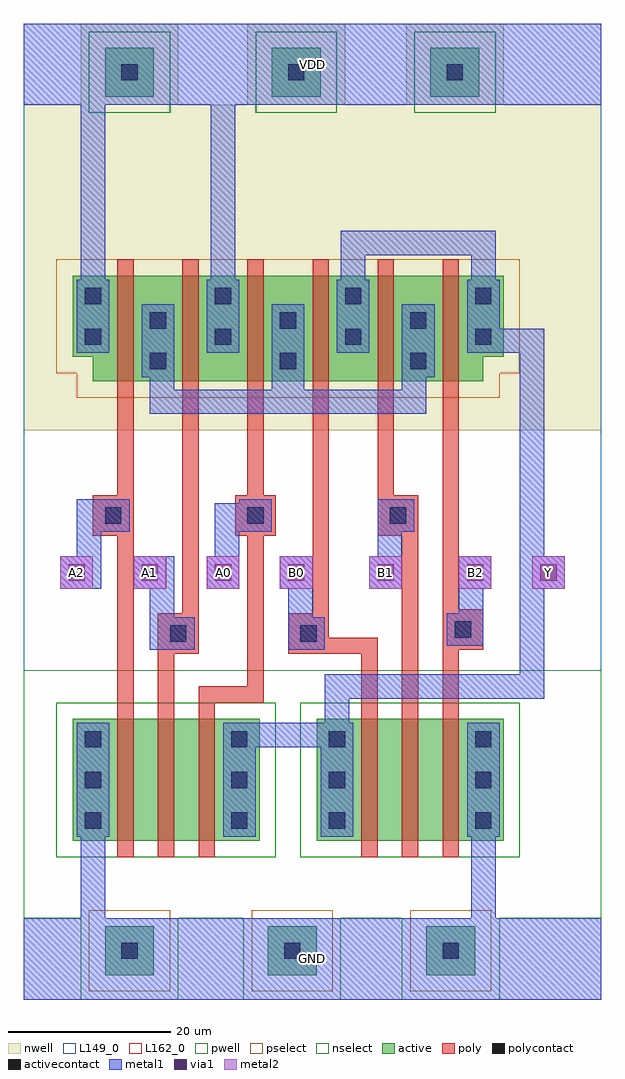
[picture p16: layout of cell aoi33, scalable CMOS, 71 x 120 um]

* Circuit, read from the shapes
.subckt aoi33 A0 A1 A2 B0 B1 B2 GND VDD Y
M1 n1 A2 GND GND nfet w=15u l=2u
M2 n2 A1 n1 GND nfet w=15u l=2u
M3 Y A0 n2 GND nfet w=15u l=2u
M4 n3 B0 Y GND nfet w=15u l=2u
M5 n4 B1 n3 GND nfet w=15u l=2u
M6 GND B2 n4 GND nfet w=15u l=2u
M7 n5 A2 VDD VDD pfet w=13u l=2u
M8 VDD A1 n5 VDD pfet w=13u l=2u
M9 n5 A0 VDD VDD pfet w=13u l=2u
M10 Y B0 n5 VDD pfet w=13u l=2u
M11 n5 B1 Y VDD pfet w=13u l=2u
M12 Y B2 n5 VDD pfet w=13u l=2u
.ends

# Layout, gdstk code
import gdstk
lib = gdstk.Library(unit=1e-6, precision=1e-09)
def R(c, l, rs):  # rectangles x0, y0, x1, y1
    for r in rs: c.add(gdstk.rectangle(r[:2], r[2:], *l))
def A(c, l, x, y, w, h, nx, ny, dx, dy):  # array of equal rectangles
    R(c, l, [(x+i*dx, y+j*dy, x+i*dx+w, y+j*dy+h) for i in range(nx) for j in range(ny)])
def P(c, l, *ps):  # polygons
    for p in ps: c.add(gdstk.Polygon(p, *l))
pwell = (41, 0)
nwell = (42, 0)
active = (43, 0)
pselect = (44, 0)
nselect = (45, 0)
poly = (46, 0)
polycontact = (47, 0)
activecontact = (48, 0)
metal1 = (49, 0)
via1 = (50, 0)
metal2 = (51, 0)
L149_0 = (149, 0)
L162_0 = (162, 0)

pwell_contact = lib.new_cell('pwell_contact')
R(pwell_contact, pwell, [(-6,-6,6,5)])
R(pwell_contact, active, [(-3,-3,3,3)])
R(pwell_contact, pselect, [(-5,-5,5,5)])
R(pwell_contact, activecontact, [(-1,-1,1,1)])

nwell_contact = lib.new_cell('nwell_contact')
R(nwell_contact, nwell, [(-6,-5,6,6)])
R(nwell_contact, active, [(-3,-3,3,3)])
R(nwell_contact, nselect, [(-5,-5,5,5)])
R(nwell_contact, activecontact, [(-1,-1,1,1)])

via = lib.new_cell('via')
R(via, metal1, [(-2,-2,2,2)])
R(via, via1, [(-1,-1,1,1)])
R(via, metal2, [(-2,-2,2,2)])

aoi33 = lib.new_cell('aoi33')
R(aoi33, pwell, [(0,10,71,20), (0,10,71,40.5), (0,13.5,35,40.5), (30,13.5,65,40.5)])
R(aoi33, nwell, [(0,70,71,110), (0,95,71,110)])
P(aoi33, nwell, [(2.5,70),(2.5,73),(0,73),(0,95),(65,95),(65,73),(62.5,73),(62.5,70)])
R(aoi33, active, [(6,19.5,29,34.5), (36,19.5,59,34.5)])
P(aoi33, active, [(8.5,76),(8.5,79),(6,79),(6,89),(59,89),(59,79),(56.5,79),(56.5,76)])
P(aoi33, pselect, [(6.5,74),(6.5,77),(4,77),(4,91),(61,91),(61,77),(58.5,77),(58.5,74)])
R(aoi33, nselect, [(4,17.5,31,36.5), (34,17.5,61,36.5)])
A(aoi33, poly, 11.5, 17.5, 2, 2, 3, 2, 5, 17)
A(aoi33, poly, 41.5, 17.5, 2, 2, 3, 2, 5, 17)
A(aoi33, poly, 11.5, 19.5, 2, 15, 3, 1, 5, 0)
A(aoi33, poly, 41.5, 19.5, 2, 15, 3, 1, 5, 0)
A(aoi33, poly, 8.5, 57, 5, 5, 3, 1, 17.5, 0)
A(aoi33, poly, 11.5, 74, 2, 2, 6, 2, 8, 15)
A(aoi33, poly, 11.5, 76, 2, 13, 6, 1, 8, 0)
R(aoi33, poly, [(16.5,42.5,21.5,47.5), (32.5,42.5,37.5,47.5), (51.5,43,56.5,48)])
A(aoi33, polycontact, 10, 58.5, 2, 2, 3, 1, 17.5, 0)
R(aoi33, polycontact, [(18,44,20,46), (34,44,36,46), (53,44.5,55,46.5)])
A(aoi33, activecontact, 7.5, 21, 2, 2, 1, 3, 0, 5)
A(aoi33, activecontact, 25.5, 21, 2, 2, 1, 3, 0, 5)
A(aoi33, activecontact, 37.5, 21, 2, 2, 1, 3, 0, 5)
A(aoi33, activecontact, 55.5, 21, 2, 2, 1, 3, 0, 5)
A(aoi33, activecontact, 15.5, 77.5, 2, 2, 3, 2, 16, 5)
A(aoi33, activecontact, 7.5, 80.5, 2, 2, 4, 2, 16, 5)
A(aoi33, metal1, 9, 57.5, 4, 4, 3, 1, 17.5, 0)
A(aoi33, metal1, 14.5, 76.5, 4, 9, 3, 1, 16, 0)
A(aoi33, metal1, 6.5, 79.5, 4, 9, 4, 1, 16, 0)
R(aoi33, metal1, [(0,0,71,10), (0,0,71,10), (6.5,20,10.5,34), (24.5,20,28.5,34), (36.5,20,40.5,34), (54.5,20,58.5,34), (17,43,21,47), (33,43,37,47), (52,43.5,56,47.5), (0,110,71,120), (0,110,71,120)])
A(aoi33, metal2, 4.5, 50.5, 4, 4, 4, 1, 9, 0)
R(aoi33, metal2, [(42.5,50.5,46.5,54.5), (53.5,50.5,57.5,54.5), (62.5,50.5,66.5,54.5)])
A(aoi33, L149_0, 9, 57.5, 4, 4, 3, 1, 17.5, 0)
R(aoi33, L149_0, [(0,0,71,10), (0,0,71,10), (0,0,71,120), (17,43,21,47), (33,43,37,47), (52,43.5,56,47.5), (0,110,71,120), (0,110,71,120)])
A(aoi33, L162_0, 4.5, 50.5, 4, 4, 4, 1, 9, 0)
R(aoi33, L162_0, [(42.5,50.5,46.5,54.5), (53.5,50.5,57.5,54.5), (62.5,50.5,66.5,54.5)])
aoi33.add(gdstk.FlexPath([(55,43.5),(55,54.5)], 3, ends="flush", simple_path=True, layer=149, datatype=0))  # L149_0
aoi33.add(gdstk.FlexPath([(56.5,20),(56.5,10)], 3, ends="flush", simple_path=True, layer=149, datatype=0))  # L149_0
aoi33.add(gdstk.FlexPath([(28.5,32.5),(36.5,32.5)], 3, ends="flush", simple_path=True, layer=149, datatype=0))  # L149_0
aoi33.add(gdstk.FlexPath([(48,76.5),(48,73.5),(17,73.5),(17,76.5)], 3, ends="flush", simple_path=True, layer=149, datatype=0))  # L149_0
aoi33.add(gdstk.FlexPath([(24.5,88.5),(24.5,110)], 3, ends="flush", simple_path=True, layer=149, datatype=0))  # L149_0
aoi33.add(gdstk.FlexPath([(58.5,81),(62.5,81),(62.5,38.5),(38.5,38.5),(38.5,34)], 3, ends="flush", simple_path=True, layer=149, datatype=0))  # L149_0
aoi33.add(gdstk.FlexPath([(33,76.5),(33,75)], 3, ends="flush", simple_path=True, layer=149, datatype=0))  # L149_0
aoi33.add(gdstk.FlexPath([(8,61.5),(8,50.5)], 3, ends="flush", simple_path=True, layer=149, datatype=0))  # L149_0
aoi33.add(gdstk.FlexPath([(32,76.5),(32,75)], 3, ends="flush", simple_path=True, layer=149, datatype=0))  # L149_0
aoi33.add(gdstk.FlexPath([(56.5,88.5),(56.5,93),(40.5,93),(40.5,88.5)], 3, ends="flush", simple_path=True, layer=149, datatype=0))  # L149_0
aoi33.add(gdstk.FlexPath([(34,43),(34,50.5)], 3, ends="flush", simple_path=True, layer=149, datatype=0))  # L149_0
aoi33.add(gdstk.FlexPath([(17,43),(17,54.5)], 3, ends="flush", simple_path=True, layer=149, datatype=0))  # L149_0
aoi33.add(gdstk.FlexPath([(45,61.5),(45,50.5)], 3, ends="flush", simple_path=True, layer=149, datatype=0))  # L149_0
aoi33.add(gdstk.FlexPath([(30,59.5),(25,59.5),(25,51)], 3, ends="flush", simple_path=True, layer=149, datatype=0))  # L149_0
aoi33.add(gdstk.FlexPath([(8.5,20),(8.5,10)], 3, ends="flush", simple_path=True, layer=149, datatype=0))  # L149_0
aoi33.add(gdstk.FlexPath([(8.5,88.5),(8.5,110)], 3, ends="flush", simple_path=True, layer=149, datatype=0))  # L149_0
aoi33.add(gdstk.FlexPath([(55,43.5),(55,54.5)], 3, ends="flush", simple_path=True, layer=49, datatype=0))  # metal1
aoi33.add(gdstk.FlexPath([(56.5,20),(56.5,10)], 3, ends="flush", simple_path=True, layer=49, datatype=0))  # metal1
aoi33.add(gdstk.FlexPath([(28.5,32.5),(36.5,32.5)], 3, ends="flush", simple_path=True, layer=49, datatype=0))  # metal1
aoi33.add(gdstk.FlexPath([(48,76.5),(48,73.5),(17,73.5),(17,76.5)], 3, ends="flush", simple_path=True, layer=49, datatype=0))  # metal1
aoi33.add(gdstk.FlexPath([(24.5,88.5),(24.5,110)], 3, ends="flush", simple_path=True, layer=49, datatype=0))  # metal1
aoi33.add(gdstk.FlexPath([(58.5,81),(62.5,81),(62.5,38.5),(38.5,38.5),(38.5,34)], 3, ends="flush", simple_path=True, layer=49, datatype=0))  # metal1
aoi33.add(gdstk.FlexPath([(33,76.5),(33,75)], 3, ends="flush", simple_path=True, layer=49, datatype=0))  # metal1
aoi33.add(gdstk.FlexPath([(8,61.5),(8,50.5)], 3, ends="flush", simple_path=True, layer=49, datatype=0))  # metal1
aoi33.add(gdstk.FlexPath([(32,76.5),(32,75)], 3, ends="flush", simple_path=True, layer=49, datatype=0))  # metal1
aoi33.add(gdstk.FlexPath([(56.5,88.5),(56.5,93),(40.5,93),(40.5,88.5)], 3, ends="flush", simple_path=True, layer=49, datatype=0))  # metal1
aoi33.add(gdstk.FlexPath([(34,43),(34,50.5)], 3, ends="flush", simple_path=True, layer=49, datatype=0))  # metal1
aoi33.add(gdstk.FlexPath([(17,43),(17,54.5)], 3, ends="flush", simple_path=True, layer=49, datatype=0))  # metal1
aoi33.add(gdstk.FlexPath([(45,61.5),(45,50.5)], 3, ends="flush", simple_path=True, layer=49, datatype=0))  # metal1
aoi33.add(gdstk.FlexPath([(30,59.5),(25,59.5),(25,51)], 3, ends="flush", simple_path=True, layer=49, datatype=0))  # metal1
aoi33.add(gdstk.FlexPath([(8.5,20),(8.5,10)], 3, ends="flush", simple_path=True, layer=49, datatype=0))  # metal1
aoi33.add(gdstk.FlexPath([(8.5,88.5),(8.5,110)], 3, ends="flush", simple_path=True, layer=49, datatype=0))  # metal1
aoi33.add(gdstk.FlexPath([(28.5,74),(28.5,37.5),(22.5,37.5),(22.5,36.5)], 2, ends="flush", simple_path=True, layer=46, datatype=0))  # poly
aoi33.add(gdstk.FlexPath([(20.5,74),(20.5,46.5),(17.5,46.5),(17.5,36.5)], 2, ends="flush", simple_path=True, layer=46, datatype=0))  # poly
aoi33.add(gdstk.FlexPath([(36.5,74),(36.5,43.5),(42.5,43.5),(42.5,36.5)], 2, ends="flush", simple_path=True, layer=46, datatype=0))  # poly
aoi33.add(gdstk.FlexPath([(52.5,74),(52.5,36.5)], 2, ends="flush", simple_path=True, layer=46, datatype=0))  # poly
aoi33.add(gdstk.FlexPath([(44.5,74),(44.5,61),(47.5,61),(47.5,36.5)], 2, ends="flush", simple_path=True, layer=46, datatype=0))  # poly
aoi33.add(gdstk.FlexPath([(12.5,74),(12.5,36.5)], 2, ends="flush", simple_path=True, layer=46, datatype=0))  # poly
aoi33.add(gdstk.Reference(pwell_contact, (33,6)))
aoi33.add(gdstk.Reference(pwell_contact, (52.5,6)))
aoi33.add(gdstk.Reference(pwell_contact, (13,6)))
aoi33.add(gdstk.Reference(nwell_contact, (33.5,114)))
aoi33.add(gdstk.Reference(nwell_contact, (53,114)))
aoi33.add(gdstk.Reference(nwell_contact, (13,114)))
aoi33.add(gdstk.Reference(via, (15.5,52.5)))
aoi33.add(gdstk.Reference(via, (33.5,52.5)))
aoi33.add(gdstk.Reference(via, (24.5,52.5)))
aoi33.add(gdstk.Reference(via, (44.5,52.5)))
aoi33.add(gdstk.Reference(via, (55.5,52.5)))
aoi33.add(gdstk.Reference(via, (64.5,52.5)))
aoi33.add(gdstk.Reference(via, (6.5,52.5)))
aoi33.add(gdstk.Label('A2', (6.5,52.5), layer=3, texttype=0))
aoi33.add(gdstk.Label('A1', (15.5,52.5), layer=3, texttype=0))
aoi33.add(gdstk.Label('A0', (24.5,52.5), layer=3, texttype=0))
aoi33.add(gdstk.Label('B0', (33.5,52.5), layer=3, texttype=0))
aoi33.add(gdstk.Label('B1', (44.5,52.5), layer=3, texttype=0))
aoi33.add(gdstk.Label('B2', (55.5,52.5), layer=3, texttype=0))
aoi33.add(gdstk.Label('Y', (64.5,52.5), layer=3, texttype=0))
aoi33.add(gdstk.Label('GND', (35.5,5), layer=2, texttype=0))
aoi33.add(gdstk.Label('VDD', (35.5,115), layer=2, texttype=0))

lib.write_gds('aoi33.gds')
